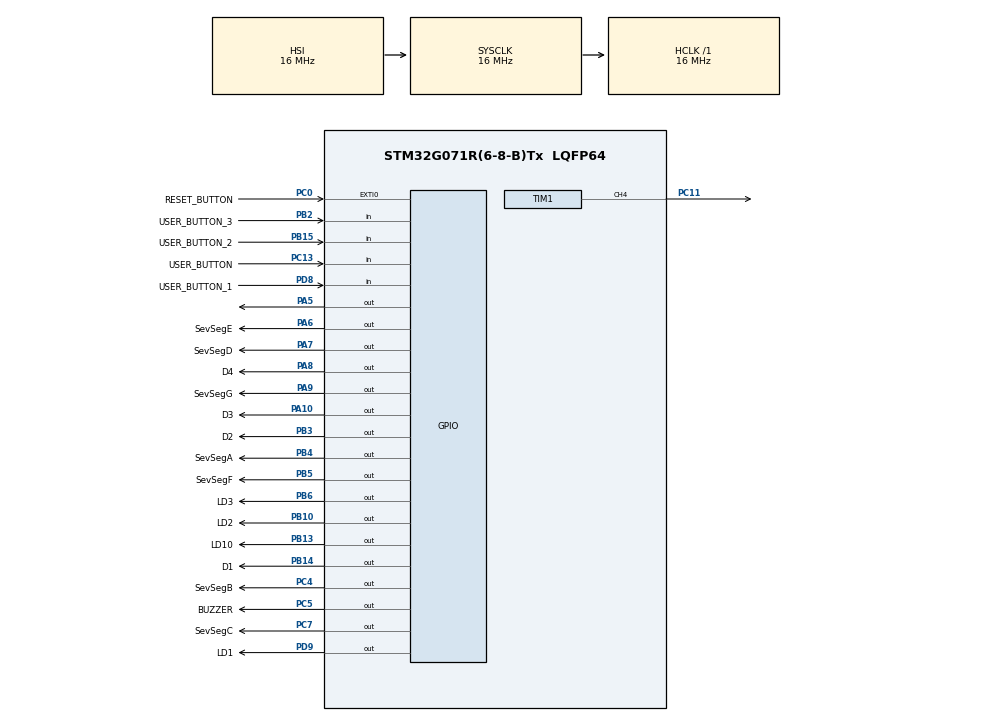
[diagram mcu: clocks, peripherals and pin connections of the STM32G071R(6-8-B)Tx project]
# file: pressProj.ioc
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Mcu.Family=STM32G0
Mcu.Name=STM32G071R(6-8-B)Tx
Mcu.Package=LQFP64
NVIC.EXTI0_1_IRQn=true\:0\:0\:false\:false\:true\:true\:true\:true
NVIC.TIM1_BRK_UP_TRG_COM_IRQn=true\:0\:0\:false\:false\:true\:true\:true\:true
NVIC.TIM3_IRQn=true\:0\:0\:false\:false\:true\:true\:true\:true
PA10.GPIO_Label=D3
PA10.Signal=GPIO_Output
PA5.Signal=GPIO_Output
PA6.GPIO_Label=SevSegE
PA6.Signal=GPIO_Output
PA7.GPIO_Label=SevSegD
PA7.Signal=GPIO_Output
PA8.GPIO_Label=D4
PA8.Signal=GPIO_Output
PA9.GPIO_Label=SevSegG
PA9.Signal=GPIO_Output
PB10.GPIO_Label=LD2
PB10.Signal=GPIO_Output
PB13.GPIO_Label=LD10
PB13.Signal=GPIO_Output
PB14.GPIO_Label=D1
PB14.Signal=GPIO_Output
PB15.GPIO_Label=USER_BUTTON_2
PB15.GPIO_PuPd=GPIO_PULLUP
PB15.Signal=GPIO_Input
PB2.GPIO_Label=USER_BUTTON_3
PB2.GPIO_PuPd=GPIO_PULLUP
PB2.Signal=GPIO_Input
PB3.GPIO_Label=D2
PB3.Signal=GPIO_Output
PB4.GPIO_Label=SevSegA
PB4.Signal=GPIO_Output
PB5.GPIO_Label=SevSegF
PB5.Signal=GPIO_Output
PB6.GPIO_Label=LD3
PB6.Signal=GPIO_Output
PC0.GPIO_Label=RESET_BUTTON
PC0.GPIO_PuPd=GPIO_PULLUP
PC0.Signal=GPXTI0
PC10.Signal=S_TIM1_CH3
PC11.Signal=S_TIM1_CH4
PC13.GPIO_Label=USER_BUTTON
PC13.GPIO_PuPd=GPIO_PULLUP
PC13.Signal=GPIO_Input
PC4.GPIO_Label=SevSegB
PC4.Signal=GPIO_Output
PC5.GPIO_Label=BUZZER
PC5.Signal=GPIO_Output
PC7.GPIO_Label=SevSegC
PC7.Signal=GPIO_Output
PD8.GPIO_Label=USER_BUTTON_1
PD8.GPIO_PuPd=GPIO_PULLUP
PD8.Signal=GPIO_Input
PD9.GPIO_Label=LD1
PD9.Signal=GPIO_Output
ProjectManager.HeapSize=0x200
ProjectManager.StackSize=0x400
ProjectManager.TargetToolchain=STM32CubeIDE
RCC.AHBFreq_Value=16000000
RCC.CortexFreq_Value=16000000
RCC.EXTERNAL_CLOCK_VALUE=48000
RCC.HCLKFreq_Value=16000000
RCC.HSE_VALUE=8000000
RCC.HSI_VALUE=16000000
RCC.LSE_VALUE=32768
RCC.PWREXT_OverDrive=PWREXT_OverDrive_DESACTIVATED
RCC.RCC_TIM_PRescaler_Selection=RCC_TIMPRES_DESACTIVATED
RCC.SYSCLKFreq_VALUE=16000000
RCC.VCOOutputFreq_Value=128000000
SH.S_TIM1_CH3.0=TIM1_CH3
SH.S_TIM1_CH4.0=TIM1_CH4,PWM Generation4 CH4
TIM1.Channel-PWM\ Generation4\ CH4=TIM_CHANNEL_4
TIM1.Period=100-1
TIM1.Prescaler=16-1
TIM3.Period=4000-1
TIM3.Prescaler=4000-1
VP_TIM1_VS_ClockSourceINT.Mode=Internal
VP_TIM3_VS_ClockSourceINT.Mode=Internal
board=custom

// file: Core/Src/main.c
/* USER CODE BEGIN Header */
/**
  ******************************************************************************
  * @file           : main.c
  * @brief          : Main program body
  ******************************************************************************
  * @attention
  *
  * Copyright (c) 2025 STMicroelectronics.
  * All rights reserved.
  *
  * This software is licensed under terms that can be found in the LICENSE file
  * in the root directory of this software component.
  * If no LICENSE file comes with this software, it is provided AS-IS.
  *
  ******************************************************************************
  */
/* USER CODE END Header */
#include "main.h"

/* USER CODE BEGIN Includes */
#include <string.h>
/* USER CODE END Includes */

TIM_HandleTypeDef htim1;
TIM_HandleTypeDef htim3;

void SystemClock_Config(void);
static void MX_GPIO_Init(void);
static void MX_TIM1_Init(void);
static void MX_TIM3_Init(void);

/* USER CODE BEGIN 0 */
uint32_t counter = 60;
uint8_t state = 0;
uint8_t pumpPower = 50;
uint8_t interruptFlag = 0;
uint8_t program = 0;
uint8_t progLength [3]= {10, 60, 5};
uint8_t temp1, temp2, temp3, temp4;
uint8_t segmentNumber[10][7] = {
		{1, 0, 0, 0, 0, 0, 0},  // 0
		{1, 1, 1, 1, 0, 0, 1},  // 1
		{0, 1, 0, 0, 1, 0, 0},  // 2
		{0, 1, 0, 1, 0, 0, 0},  // 3
		{0, 0, 1, 1, 0, 0, 1},  // 4
		{0, 0, 0, 1, 0, 1, 0},  // 5
		{0, 0, 0, 0, 0, 1, 0},  // 6
		{1, 1, 1, 1, 0, 0, 0},  // 7
		{0, 0, 0, 0, 0, 0, 0},  // 8
		{0, 0, 0, 1, 0, 0, 0}   // 9
};

void SevenSegment_Update(uint8_t number){
	HAL_GPIO_WritePin(SevSegA_GPIO_Port, SevSegA_Pin, segmentNumber[number][6]);
	HAL_GPIO_WritePin(SevSegB_GPIO_Port, SevSegB_Pin, segmentNumber[number][5]);
	HAL_GPIO_WritePin(SevSegC_GPIO_Port, SevSegC_Pin, segmentNumber[number][4]);
	HAL_GPIO_WritePin(SevSegD_GPIO_Port, SevSegD_Pin, segmentNumber[number][3]);
	HAL_GPIO_WritePin(SevSegE_GPIO_Port, SevSegE_Pin, segmentNumber[number][2]);
	HAL_GPIO_WritePin(SevSegF_GPIO_Port, SevSegF_Pin, segmentNumber[number][1]);
	HAL_GPIO_WritePin(SevSegG_GPIO_Port, SevSegG_Pin, segmentNumber[number][0]);
}

void ProgramEnd(){
	HAL_GPIO_WritePin(LD10_GPIO_Port, LD10_Pin, 1);
    HAL_GPIO_WritePin(BUZZER_GPIO_Port, BUZZER_Pin, 1);
    HAL_Delay(1000);
    HAL_GPIO_WritePin(BUZZER_GPIO_Port, BUZZER_Pin, 0);
    HAL_GPIO_WritePin(LD10_GPIO_Port, LD10_Pin, 0);
    HAL_Delay(50);
    state = 0;
    program = 0;
    HAL_GPIO_WritePin(LD1_GPIO_Port, LD1_Pin, 1);
    HAL_GPIO_WritePin(LD2_GPIO_Port, LD2_Pin, 1);
    HAL_GPIO_WritePin(LD3_GPIO_Port, LD3_Pin, 1);
}

void First_program(){
	if ((interruptFlag == 1) || (counter <= 0)){
	    HAL_GPIO_WritePin(LD1_GPIO_Port, LD1_Pin, 0);
	    HAL_TIM_Base_Stop_IT(&htim3);
	    ProgramEnd();
	}
}

void Second_program(){
    if ((interruptFlag == 1) || (counter <= 0)){
	    HAL_GPIO_WritePin(LD2_GPIO_Port, LD2_Pin, 0);
	    HAL_TIM_Base_Stop_IT(&htim3);
		HAL_TIM_PWM_Stop(&htim1, TIM_CHANNEL_3);
		HAL_TIM_PWM_Stop(&htim1, TIM_CHANNEL_4);
	    ProgramEnd();
    }
    else {
    	temp1 = counter/1000;
    	temp2 = ((counter/100)%10);
    	temp3 = ((counter/10)%10);
    	temp4 = (counter%10);
    	SevenSegment_Update(temp2);
    	HAL_GPIO_WritePin(D2_GPIO_Port, D2_Pin, GPIO_PIN_SET);
    	HAL_Delay(5);
    	HAL_GPIO_WritePin(D2_GPIO_Port, D2_Pin, GPIO_PIN_RESET);

    	SevenSegment_Update(temp3);
    	HAL_GPIO_WritePin(D3_GPIO_Port, D3_Pin, GPIO_PIN_SET);
    	HAL_Delay(5);
    	HAL_GPIO_WritePin(D3_GPIO_Port, D3_Pin, GPIO_PIN_RESET);

    	SevenSegment_Update(temp4);
    	HAL_GPIO_WritePin(D4_GPIO_Port, D4_Pin, GPIO_PIN_SET);
    	HAL_Delay(5);
    	HAL_GPIO_WritePin(D4_GPIO_Port, D4_Pin, GPIO_PIN_RESET);}
}

void Third_program(){
	if ((interruptFlag == 1) || (counter <= 0)){
	    HAL_GPIO_WritePin(LD3_GPIO_Port, LD3_Pin, 0);
	    HAL_TIM_Base_Stop_IT(&htim3);
	    ProgramEnd();
	}
}

void HAL_TIM_PeriodElapsedCallback(TIM_HandleTypeDef *htim)
{
	if (htim->Instance == TIM3){
			counter--;}
}

/* USER CODE END 0 */

int main(void)
{

  /* MCU Configuration--------------------------------------------------------*/

  /* Reset of all peripherals, Initializes the Flash interface and the Systick. */
  HAL_Init();

  /* Configure the system clock */
  SystemClock_Config();

  /* Initialize all configured peripherals */
  MX_GPIO_Init();
  MX_TIM1_Init();
  MX_TIM3_Init();
  /* USER CODE BEGIN 2 */
  // kod do sprawdzania czy wszystko działa
  HAL_GPIO_WritePin(LD1_GPIO_Port, LD1_Pin, 1);
  HAL_GPIO_WritePin(LD2_GPIO_Port, LD2_Pin, 1);
  HAL_GPIO_WritePin(LD3_GPIO_Port, LD3_Pin, 1);
  TIM1->CCR3 = pumpPower;
  TIM1->CCR4 = 0;

  /* USER CODE END 2 */

  /* Infinite loop */
  /* USER CODE BEGIN WHILE */
  while (1)
  {
	  // przycisk do programu 1
	  if ((HAL_GPIO_ReadPin(USER_BUTTON_1_GPIO_Port, USER_BUTTON_1_Pin) == GPIO_PIN_RESET)&&(state == 0)) {
		  counter = progLength[0];
		  program = 1;
		  state = 1;
		  interruptFlag = 0;
		  HAL_TIM_Base_Start_IT(&htim3);
		  HAL_GPIO_WritePin(LD2_GPIO_Port, LD2_Pin, 0);
		  HAL_GPIO_WritePin(LD3_GPIO_Port, LD3_Pin, 0);
		  HAL_GPIO_WritePin(LD10_GPIO_Port, LD10_Pin, 0);
	  }
	  // przycisk do programu 2
	  if ((HAL_GPIO_ReadPin(USER_BUTTON_2_GPIO_Port, USER_BUTTON_2_Pin) == GPIO_PIN_RESET)&&(state == 0)) {
		  counter = progLength[1];
		  program = 2;
		  state = 1;
		  interruptFlag = 0;
		  HAL_TIM_Base_Start_IT(&htim3);
		  HAL_GPIO_WritePin(LD1_GPIO_Port, LD1_Pin, 0);
		  HAL_GPIO_WritePin(LD3_GPIO_Port, LD3_Pin, 0);
		  HAL_GPIO_WritePin(LD10_GPIO_Port, LD10_Pin, 0);
		  HAL_TIM_PWM_Start(&htim1, TIM_CHANNEL_3);
		  HAL_TIM_PWM_Start(&htim1, TIM_CHANNEL_4);
	  }
	  // przycisk do programu 3
	  if ((HAL_GPIO_ReadPin(USER_BUTTON_3_GPIO_Port, USER_BUTTON_3_Pin) == GPIO_PIN_RESET)&&(state == 0)) {
		  counter = progLength[2];
		  program = 3;
		  state = 1;
		  interruptFlag = 0;
		  HAL_TIM_Base_Start_IT(&htim3);
		  HAL_GPIO_WritePin(LD2_GPIO_Port, LD2_Pin, 0);
		  HAL_GPIO_WritePin(LD1_GPIO_Port, LD1_Pin, 0);
		  HAL_GPIO_WritePin(LD10_GPIO_Port, LD10_Pin, 0);
	  }

	  	/*const char message[] = "Hello world!\r\n";
	    HAL_UART_Transmit(&huart2, (uint8_t*)message, strlen(message), HAL_MAX_DELAY);*/
	  switch (program){
	  case 1: First_program(); 		//egzekucja pierwszego programu
	  break;
	  case 2: Second_program();		//egzekucja drugiego programu
	  break;
	  case 3: Third_program();		//egzekucja trzeciego programu
	  break;
	  default:
		  HAL_Delay(50);
	    }
    /* USER CODE END WHILE */

  }
}

void SystemClock_Config(void)
{
  RCC_OscInitTypeDef RCC_OscInitStruct = {0};
  RCC_ClkInitTypeDef RCC_ClkInitStruct = {0};

  /** Configure the main internal regulator output voltage
  */
  HAL_PWREx_ControlVoltageScaling(PWR_REGULATOR_VOLTAGE_SCALE1);

  /** Initializes the RCC Oscillators according to the specified parameters
  * in the RCC_OscInitTypeDef structure.
  */
  RCC_OscInitStruct.OscillatorType = RCC_OSCILLATORTYPE_HSI;
  RCC_OscInitStruct.HSIState = RCC_HSI_ON;
  RCC_OscInitStruct.HSIDiv = RCC_HSI_DIV1;
  RCC_OscInitStruct.HSICalibrationValue = RCC_HSICALIBRATION_DEFAULT;
  RCC_OscInitStruct.PLL.PLLState = RCC_PLL_NONE;
  if (HAL_RCC_OscConfig(&RCC_OscInitStruct) != HAL_OK)
  {
    Error_Handler();
  }

  /** Initializes the CPU, AHB and APB buses clocks
  */
  RCC_ClkInitStruct.ClockType = RCC_CLOCKTYPE_HCLK|RCC_CLOCKTYPE_SYSCLK
                              |RCC_CLOCKTYPE_PCLK1;
  RCC_ClkInitStruct.SYSCLKSource = RCC_SYSCLKSOURCE_HSI;
  RCC_ClkInitStruct.AHBCLKDivider = RCC_SYSCLK_DIV1;
  RCC_ClkInitStruct.APB1CLKDivider = RCC_HCLK_DIV1;

  if (HAL_RCC_ClockConfig(&RCC_ClkInitStruct, FLASH_LATENCY_0) != HAL_OK)
  {
    Error_Handler();
  }
}

static void MX_TIM1_Init(void)
{

  TIM_ClockConfigTypeDef sClockSourceConfig = {0};
  TIM_MasterConfigTypeDef sMasterConfig = {0};
  TIM_OC_InitTypeDef sConfigOC = {0};
  TIM_BreakDeadTimeConfigTypeDef sBreakDeadTimeConfig = {0};

  htim1.Instance = TIM1;
  htim1.Init.Prescaler = 16-1;
  htim1.Init.CounterMode = TIM_COUNTERMODE_UP;
  htim1.Init.Period = 100-1;
  htim1.Init.ClockDivision = TIM_CLOCKDIVISION_DIV1;
  htim1.Init.RepetitionCounter = 0;
  htim1.Init.AutoReloadPreload = TIM_AUTORELOAD_PRELOAD_DISABLE;
  if (HAL_TIM_Base_Init(&htim1) != HAL_OK)
  {
    Error_Handler();
  }
  sClockSourceConfig.ClockSource = TIM_CLOCKSOURCE_INTERNAL;
  if (HAL_TIM_ConfigClockSource(&htim1, &sClockSourceConfig) != HAL_OK)
  {
    Error_Handler();
  }
  if (HAL_TIM_PWM_Init(&htim1) != HAL_OK)
  {
    Error_Handler();
  }
  sMasterConfig.MasterOutputTrigger = TIM_TRGO_RESET;
  sMasterConfig.MasterOutputTrigger2 = TIM_TRGO2_RESET;
  sMasterConfig.MasterSlaveMode = TIM_MASTERSLAVEMODE_DISABLE;
  if (HAL_TIMEx_MasterConfigSynchronization(&htim1, &sMasterConfig) != HAL_OK)
  {
    Error_Handler();
  }
  sConfigOC.OCMode = TIM_OCMODE_PWM1;
  sConfigOC.Pulse = 0;
  sConfigOC.OCPolarity = TIM_OCPOLARITY_HIGH;
  sConfigOC.OCFastMode = TIM_OCFAST_DISABLE;
  sConfigOC.OCIdleState = TIM_OCIDLESTATE_RESET;
  sConfigOC.OCNIdleState = TIM_OCNIDLESTATE_RESET;
  if (HAL_TIM_PWM_ConfigChannel(&htim1, &sConfigOC, TIM_CHANNEL_4) != HAL_OK)
  {
    Error_Handler();
  }
  sBreakDeadTimeConfig.OffStateRunMode = TIM_OSSR_DISABLE;
  sBreakDeadTimeConfig.OffStateIDLEMode = TIM_OSSI_DISABLE;
  sBreakDeadTimeConfig.LockLevel = TIM_LOCKLEVEL_OFF;
  sBreakDeadTimeConfig.DeadTime = 0;
  sBreakDeadTimeConfig.BreakState = TIM_BREAK_DISABLE;
  sBreakDeadTimeConfig.BreakPolarity = TIM_BREAKPOLARITY_HIGH;
  sBreakDeadTimeConfig.BreakFilter = 0;
  sBreakDeadTimeConfig.BreakAFMode = TIM_BREAK_AFMODE_INPUT;
  sBreakDeadTimeConfig.Break2State = TIM_BREAK2_DISABLE;
  sBreakDeadTimeConfig.Break2Polarity = TIM_BREAK2POLARITY_HIGH;
  sBreakDeadTimeConfig.Break2Filter = 0;
  sBreakDeadTimeConfig.Break2AFMode = TIM_BREAK_AFMODE_INPUT;
  sBreakDeadTimeConfig.AutomaticOutput = TIM_AUTOMATICOUTPUT_DISABLE;
  if (HAL_TIMEx_ConfigBreakDeadTime(&htim1, &sBreakDeadTimeConfig) != HAL_OK)
  {
    Error_Handler();
  }
  HAL_TIM_MspPostInit(&htim1);

}

static void MX_TIM3_Init(void)
{

  TIM_ClockConfigTypeDef sClockSourceConfig = {0};
  TIM_MasterConfigTypeDef sMasterConfig = {0};

  htim3.Instance = TIM3;
  htim3.Init.Prescaler = 4000-1;
  htim3.Init.CounterMode = TIM_COUNTERMODE_UP;
  htim3.Init.Period = 4000-1;
  htim3.Init.ClockDivision = TIM_CLOCKDIVISION_DIV1;
  htim3.Init.AutoReloadPreload = TIM_AUTORELOAD_PRELOAD_DISABLE;
  if (HAL_TIM_Base_Init(&htim3) != HAL_OK)
  {
    Error_Handler();
  }
  sClockSourceConfig.ClockSource = TIM_CLOCKSOURCE_INTERNAL;
  if (HAL_TIM_ConfigClockSource(&htim3, &sClockSourceConfig) != HAL_OK)
  {
    Error_Handler();
  }
  sMasterConfig.MasterOutputTrigger = TIM_TRGO_RESET;
  sMasterConfig.MasterSlaveMode = TIM_MASTERSLAVEMODE_DISABLE;
  if (HAL_TIMEx_MasterConfigSynchronization(&htim3, &sMasterConfig) != HAL_OK)
  {
    Error_Handler();
  }

}

static void MX_GPIO_Init(void)
{
  GPIO_InitTypeDef GPIO_InitStruct = {0};

  /* GPIO Ports Clock Enable */
  __HAL_RCC_GPIOC_CLK_ENABLE();
  __HAL_RCC_GPIOA_CLK_ENABLE();
  __HAL_RCC_GPIOB_CLK_ENABLE();
  __HAL_RCC_GPIOD_CLK_ENABLE();

  /*Configure GPIO pin Output Level */
  HAL_GPIO_WritePin(GPIOA, GPIO_PIN_5|SevSegE_Pin|SevSegD_Pin|D4_Pin
                          |SevSegG_Pin|D3_Pin, GPIO_PIN_RESET);

  /*Configure GPIO pin Output Level */
  HAL_GPIO_WritePin(GPIOC, SevSegB_Pin|BUZZER_Pin|SevSegC_Pin, GPIO_PIN_RESET);

  /*Configure GPIO pin Output Level */
  HAL_GPIO_WritePin(GPIOB, LD2_Pin|LD10_Pin|D1_Pin|D2_Pin
                          |SevSegA_Pin|SevSegF_Pin|LD3_Pin, GPIO_PIN_RESET);

  /*Configure GPIO pin Output Level */
  HAL_GPIO_WritePin(LD1_GPIO_Port, LD1_Pin, GPIO_PIN_RESET);

  /*Configure GPIO pin : USER_BUTTON_Pin */
  GPIO_InitStruct.Pin = USER_BUTTON_Pin;
  GPIO_InitStruct.Mode = GPIO_MODE_INPUT;
  GPIO_InitStruct.Pull = GPIO_PULLUP;
  HAL_GPIO_Init(USER_BUTTON_GPIO_Port, &GPIO_InitStruct);

  /*Configure GPIO pin : RESET_BUTTON_Pin */
  GPIO_InitStruct.Pin = RESET_BUTTON_Pin;
  GPIO_InitStruct.Mode = GPIO_MODE_IT_RISING;
  GPIO_InitStruct.Pull = GPIO_PULLUP;
  HAL_GPIO_Init(RESET_BUTTON_GPIO_Port, &GPIO_InitStruct);

  /*Configure GPIO pins : PA5 SevSegE_Pin SevSegD_Pin D4_Pin
                           SevSegG_Pin D3_Pin */
  GPIO_InitStruct.Pin = GPIO_PIN_5|SevSegE_Pin|SevSegD_Pin|D4_Pin
                          |SevSegG_Pin|D3_Pin;
  GPIO_InitStruct.Mode = GPIO_MODE_OUTPUT_PP;
  GPIO_InitStruct.Pull = GPIO_NOPULL;
  GPIO_InitStruct.Speed = GPIO_SPEED_FREQ_LOW;
  HAL_GPIO_Init(GPIOA, &GPIO_InitStruct);

  /*Configure GPIO pins : SevSegB_Pin BUZZER_Pin SevSegC_Pin */
  GPIO_InitStruct.Pin = SevSegB_Pin|BUZZER_Pin|SevSegC_Pin;
  GPIO_InitStruct.Mode = GPIO_MODE_OUTPUT_PP;
  GPIO_InitStruct.Pull = GPIO_NOPULL;
  GPIO_InitStruct.Speed = GPIO_SPEED_FREQ_LOW;
  HAL_GPIO_Init(GPIOC, &GPIO_InitStruct);

  /*Configure GPIO pins : USER_BUTTON_3_Pin USER_BUTTON_2_Pin */
  GPIO_InitStruct.Pin = USER_BUTTON_3_Pin|USER_BUTTON_2_Pin;
  GPIO_InitStruct.Mode = GPIO_MODE_INPUT;
  GPIO_InitStruct.Pull = GPIO_PULLUP;
  HAL_GPIO_Init(GPIOB, &GPIO_InitStruct);

  /*Configure GPIO pins : LD2_Pin LD10_Pin D1_Pin D2_Pin
                           SevSegA_Pin SevSegF_Pin LD3_Pin */
  GPIO_InitStruct.Pin = LD2_Pin|LD10_Pin|D1_Pin|D2_Pin
                          |SevSegA_Pin|SevSegF_Pin|LD3_Pin;
  GPIO_InitStruct.Mode = GPIO_MODE_OUTPUT_PP;
  GPIO_InitStruct.Pull = GPIO_NOPULL;
  GPIO_InitStruct.Speed = GPIO_SPEED_FREQ_LOW;
  HAL_GPIO_Init(GPIOB, &GPIO_InitStruct);

  /*Configure GPIO pin : USER_BUTTON_1_Pin */
  GPIO_InitStruct.Pin = USER_BUTTON_1_Pin;
  GPIO_InitStruct.Mode = GPIO_MODE_INPUT;
  GPIO_InitStruct.Pull = GPIO_PULLUP;
  HAL_GPIO_Init(USER_BUTTON_1_GPIO_Port, &GPIO_InitStruct);

  /*Configure GPIO pin : LD1_Pin */
  GPIO_InitStruct.Pin = LD1_Pin;
  GPIO_InitStruct.Mode = GPIO_MODE_OUTPUT_PP;
  GPIO_InitStruct.Pull = GPIO_NOPULL;
  GPIO_InitStruct.Speed = GPIO_SPEED_FREQ_LOW;
  HAL_GPIO_Init(LD1_GPIO_Port, &GPIO_InitStruct);

  /* EXTI interrupt init*/
  HAL_NVIC_SetPriority(EXTI0_1_IRQn, 0, 0);
  HAL_NVIC_EnableIRQ(EXTI0_1_IRQn);

}

/* USER CODE BEGIN 4 */
void HAL_GPIO_EXTI_Rising_Callback(uint16_t GPIO_Pin)
{
	if (GPIO_Pin == GPIO_PIN_0) {
		interruptFlag = 1;
		HAL_GPIO_TogglePin(GPIOA, GPIO_PIN_5);
	  }
}
/* USER CODE END 4 */

void Error_Handler(void)
{
  /* USER CODE BEGIN Error_Handler_Debug */
  /* User can add his own implementation to report the HAL error return state */
  __disable_irq();
  HAL_GPIO_WritePin(LD1_GPIO_Port, LD1_Pin, 0);
  HAL_GPIO_WritePin(LD3_GPIO_Port, LD3_Pin, 0);
  HAL_GPIO_WritePin(LD10_GPIO_Port, LD10_Pin, 1);
  SevenSegment_Update(6);
  HAL_GPIO_WritePin(D2_GPIO_Port, D2_Pin, GPIO_PIN_SET);
  SevenSegment_Update(6);
  HAL_GPIO_WritePin(D3_GPIO_Port, D3_Pin, GPIO_PIN_SET);
  SevenSegment_Update(6);
  HAL_GPIO_WritePin(D4_GPIO_Port, D4_Pin, GPIO_PIN_SET);
  while (1){}
  /* USER CODE END Error_Handler_Debug */
}
